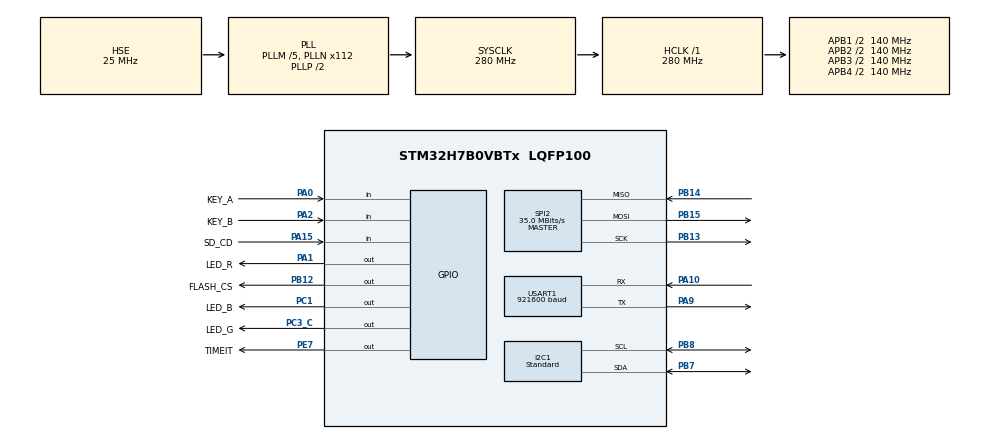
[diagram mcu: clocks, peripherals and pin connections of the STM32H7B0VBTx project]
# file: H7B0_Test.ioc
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CORTEX_M7.AccessPermission-Cortex_Memory_Protection_Unit_Region0_Settings=MPU_REGION_FULL_ACCESS
CORTEX_M7.AccessPermission-Cortex_Memory_Protection_Unit_Region1_Settings=MPU_REGION_FULL_ACCESS
CORTEX_M7.AccessPermission-Cortex_Memory_Protection_Unit_Region2_Settings=MPU_REGION_FULL_ACCESS
CORTEX_M7.AccessPermission_Spec=MPU_REGION_FULL_ACCESS
CORTEX_M7.BaseAddress-Cortex_Memory_Protection_Unit_Region0_Settings=0x90000000
CORTEX_M7.BaseAddress-Cortex_Memory_Protection_Unit_Region1_Settings=0x20000000
CORTEX_M7.BaseAddress-Cortex_Memory_Protection_Unit_Region2_Settings=0x24000000
CORTEX_M7.CPU_DCache=Enabled
CORTEX_M7.CPU_ICache=Enabled
CORTEX_M7.DisableExec-Cortex_Memory_Protection_Unit_Region0_Settings=MPU_INSTRUCTION_ACCESS_ENABLE
CORTEX_M7.DisableExec_Spec=MPU_INSTRUCTION_ACCESS_ENABLE
CORTEX_M7.Enable-Cortex_Memory_Protection_Unit_Region0_Settings=MPU_REGION_ENABLE
CORTEX_M7.Enable-Cortex_Memory_Protection_Unit_Region1_Settings=MPU_REGION_ENABLE
CORTEX_M7.Enable-Cortex_Memory_Protection_Unit_Region2_Settings=MPU_REGION_ENABLE
CORTEX_M7.Enable_Spec=__NULL
CORTEX_M7.IsBufferable-Cortex_Memory_Protection_Unit_Region0_Settings=MPU_ACCESS_BUFFERABLE
CORTEX_M7.IsBufferable-Cortex_Memory_Protection_Unit_Region1_Settings=MPU_ACCESS_BUFFERABLE
CORTEX_M7.IsBufferable-Cortex_Memory_Protection_Unit_Region2_Settings=MPU_ACCESS_BUFFERABLE
CORTEX_M7.IsBufferable_Spec=MPU_ACCESS_BUFFERABLE
CORTEX_M7.IsCacheable-Cortex_Memory_Protection_Unit_Region0_Settings=MPU_ACCESS_CACHEABLE
CORTEX_M7.IsCacheable-Cortex_Memory_Protection_Unit_Region1_Settings=MPU_ACCESS_CACHEABLE
CORTEX_M7.IsCacheable-Cortex_Memory_Protection_Unit_Region2_Settings=MPU_ACCESS_CACHEABLE
CORTEX_M7.IsCacheable_Spec=MPU_ACCESS_CACHEABLE
CORTEX_M7.IsShareable_Spec=MPU_ACCESS_NOT_SHAREABLE
CORTEX_M7.MPU_Control=MPU_PRIVILEGED_DEFAULT
CORTEX_M7.Size-Cortex_Memory_Protection_Unit_Region0_Settings=MPU_REGION_SIZE_32MB
CORTEX_M7.Size-Cortex_Memory_Protection_Unit_Region1_Settings=MPU_REGION_SIZE_2MB
CORTEX_M7.Size-Cortex_Memory_Protection_Unit_Region2_Settings=MPU_REGION_SIZE_2MB
CORTEX_M7.SubRegionDisable_Spec=0
CORTEX_M7.TypeExtField-Cortex_Memory_Protection_Unit_Region0_Settings=MPU_TEX_LEVEL1
CORTEX_M7.TypeExtField-Cortex_Memory_Protection_Unit_Region1_Settings=MPU_TEX_LEVEL1
CORTEX_M7.TypeExtField-Cortex_Memory_Protection_Unit_Region2_Settings=MPU_TEX_LEVEL1
CORTEX_M7.TypeExtField_Spec=MPU_TEX_LEVEL1
Dma.Request0=USART1_RX
Dma.Request1=USART1_TX
Dma.Request2=SPI2_TX
Dma.Request3=SPI2_RX
Dma.SPI2_RX.3.Direction=DMA_PERIPH_TO_MEMORY
Dma.SPI2_RX.3.EventEnable=DISABLE
Dma.SPI2_RX.3.FIFOMode=DMA_FIFOMODE_DISABLE
Dma.SPI2_RX.3.Instance=DMA1_Stream3
Dma.SPI2_RX.3.MemDataAlignment=DMA_MDATAALIGN_BYTE
Dma.SPI2_RX.3.MemInc=DMA_MINC_ENABLE
Dma.SPI2_RX.3.Mode=DMA_NORMAL
Dma.SPI2_RX.3.PeriphDataAlignment=DMA_PDATAALIGN_BYTE
Dma.SPI2_RX.3.PeriphInc=DMA_PINC_DISABLE
Dma.SPI2_RX.3.Polarity=HAL_DMAMUX_REQ_GEN_RISING
Dma.SPI2_RX.3.Priority=DMA_PRIORITY_LOW
Dma.SPI2_RX.3.RequestNumber=1
Dma.SPI2_RX.3.SignalID=NONE
Dma.SPI2_RX.3.SyncEnable=DISABLE
Dma.SPI2_RX.3.SyncPolarity=HAL_DMAMUX_SYNC_NO_EVENT
Dma.SPI2_RX.3.SyncRequestNumber=1
Dma.SPI2_RX.3.SyncSignalID=NONE
Dma.SPI2_TX.2.Direction=DMA_MEMORY_TO_PERIPH
Dma.SPI2_TX.2.EventEnable=DISABLE
Dma.SPI2_TX.2.FIFOMode=DMA_FIFOMODE_DISABLE
Dma.SPI2_TX.2.Instance=DMA1_Stream2
Dma.SPI2_TX.2.MemDataAlignment=DMA_MDATAALIGN_BYTE
Dma.SPI2_TX.2.MemInc=DMA_MINC_ENABLE
Dma.SPI2_TX.2.Mode=DMA_NORMAL
Dma.SPI2_TX.2.PeriphDataAlignment=DMA_PDATAALIGN_BYTE
Dma.SPI2_TX.2.PeriphInc=DMA_PINC_DISABLE
Dma.SPI2_TX.2.Polarity=HAL_DMAMUX_REQ_GEN_RISING
Dma.SPI2_TX.2.Priority=DMA_PRIORITY_LOW
Dma.SPI2_TX.2.RequestNumber=1
Dma.SPI2_TX.2.SignalID=NONE
Dma.SPI2_TX.2.SyncEnable=DISABLE
Dma.SPI2_TX.2.SyncPolarity=HAL_DMAMUX_SYNC_NO_EVENT
Dma.SPI2_TX.2.SyncRequestNumber=1
Dma.SPI2_TX.2.SyncSignalID=NONE
Dma.USART1_RX.0.Direction=DMA_PERIPH_TO_MEMORY
Dma.USART1_RX.0.EventEnable=DISABLE
Dma.USART1_RX.0.FIFOMode=DMA_FIFOMODE_DISABLE
Dma.USART1_RX.0.Instance=DMA1_Stream0
Dma.USART1_RX.0.MemDataAlignment=DMA_MDATAALIGN_BYTE
Dma.USART1_RX.0.MemInc=DMA_MINC_ENABLE
Dma.USART1_RX.0.Mode=DMA_NORMAL
Dma.USART1_RX.0.PeriphDataAlignment=DMA_PDATAALIGN_BYTE
Dma.USART1_RX.0.PeriphInc=DMA_PINC_DISABLE
Dma.USART1_RX.0.Polarity=HAL_DMAMUX_REQ_GEN_RISING
Dma.USART1_RX.0.Priority=DMA_PRIORITY_LOW
Dma.USART1_RX.0.RequestNumber=1
Dma.USART1_RX.0.SignalID=NONE
Dma.USART1_RX.0.SyncEnable=DISABLE
Dma.USART1_RX.0.SyncPolarity=HAL_DMAMUX_SYNC_NO_EVENT
Dma.USART1_RX.0.SyncRequestNumber=1
Dma.USART1_RX.0.SyncSignalID=NONE
Dma.USART1_TX.1.Direction=DMA_MEMORY_TO_PERIPH
Dma.USART1_TX.1.EventEnable=DISABLE
Dma.USART1_TX.1.FIFOMode=DMA_FIFOMODE_DISABLE
Dma.USART1_TX.1.Instance=DMA1_Stream1
Dma.USART1_TX.1.MemDataAlignment=DMA_MDATAALIGN_BYTE
Dma.USART1_TX.1.MemInc=DMA_MINC_ENABLE
Dma.USART1_TX.1.Mode=DMA_NORMAL
Dma.USART1_TX.1.PeriphDataAlignment=DMA_PDATAALIGN_BYTE
Dma.USART1_TX.1.PeriphInc=DMA_PINC_DISABLE
Dma.USART1_TX.1.Polarity=HAL_DMAMUX_REQ_GEN_RISING
Dma.USART1_TX.1.Priority=DMA_PRIORITY_LOW
Dma.USART1_TX.1.RequestNumber=1
Dma.USART1_TX.1.SignalID=NONE
Dma.USART1_TX.1.SyncEnable=DISABLE
Dma.USART1_TX.1.SyncPolarity=HAL_DMAMUX_SYNC_NO_EVENT
Dma.USART1_TX.1.SyncRequestNumber=1
Dma.USART1_TX.1.SyncSignalID=NONE
I2C1.I2C_Speed_Mode=I2C_Standard
I2C1.Timing=0x20B0CCFF
Mcu.Family=STM32H7
Mcu.Name=STM32H7B0VBTx
Mcu.Package=LQFP100
NVIC.DMA1_Stream0_IRQn=true\:3\:0\:true\:false\:true\:false\:true\:true
NVIC.DMA1_Stream1_IRQn=true\:3\:0\:true\:false\:true\:false\:true\:true
NVIC.DMA1_Stream2_IRQn=true\:0\:0\:false\:false\:true\:false\:true\:true
NVIC.DMA1_Stream3_IRQn=true\:0\:0\:false\:false\:true\:false\:true\:true
NVIC.I2C1_ER_IRQn=true\:4\:0\:true\:false\:true\:true\:true\:true
NVIC.I2C1_EV_IRQn=true\:4\:0\:true\:false\:true\:true\:true\:true
NVIC.PriorityGroup=NVIC_PRIORITYGROUP_4
NVIC.SPI2_IRQn=true\:0\:0\:false\:false\:true\:true\:true\:true
NVIC.USART1_IRQn=true\:2\:0\:true\:false\:true\:true\:true\:true
PA0.GPIO_Label=KEY_A
PA0.GPIO_PuPd=GPIO_PULLDOWN
PA0.Signal=GPIO_Input
PA1.GPIO_Label=LED_R
PA1.GPIO_ModeDefaultOutputPP=GPIO_MODE_OUTPUT_OD
PA1.GPIO_PuPd=GPIO_NOPULL
PA1.PinState=GPIO_PIN_SET
PA1.Signal=GPIO_Output
PA10.Mode=Asynchronous
PA10.Signal=USART1_RX
PA13.Mode=Serial_Wire
PA13.Signal=DEBUG_JTMS-SWDIO
PA14.Mode=Serial_Wire
PA14.Signal=DEBUG_JTCK-SWCLK
PA15.GPIO_Label=SD_CD
PA15.GPIO_PuPd=GPIO_PULLUP
PA15.Signal=GPIO_Input
PA2.GPIO_Label=KEY_B
PA2.GPIO_PuPd=GPIO_PULLUP
PA2.Signal=GPIO_Input
PA9.Mode=Asynchronous
PA9.Signal=USART1_TX
PB12.GPIO_Label=FLASH_CS
PB12.Signal=GPIO_Output
PB13.Mode=Full_Duplex_Master
PB13.Signal=SPI2_SCK
PB14.Mode=Full_Duplex_Master
PB14.Signal=SPI2_MISO
PB15.Mode=Full_Duplex_Master
PB15.Signal=SPI2_MOSI
PB2.Signal=OCTOSPIM_P1_CLK
PB6.Signal=OCTOSPIM_P1_NCS
PB7.GPIO_Pu=GPIO_PULLUP
PB7.GPIO_Speed=GPIO_SPEED_FREQ_HIGH
PB7.Mode=I2C
PB7.Signal=I2C1_SDA
PB8.GPIO_Pu=GPIO_PULLUP
PB8.GPIO_Speed=GPIO_SPEED_FREQ_HIGH
PB8.Mode=I2C
PB8.Signal=I2C1_SCL
PC1.GPIO_Label=LED_B
PC1.GPIO_ModeDefaultOutputPP=GPIO_MODE_OUTPUT_OD
PC1.GPIO_PuPd=GPIO_NOPULL
PC1.PinState=GPIO_PIN_SET
PC1.Signal=GPIO_Output
PC3_C.GPIO_Label=LED_G
PC3_C.GPIO_ModeDefaultOutputPP=GPIO_MODE_OUTPUT_OD
PC3_C.GPIO_PuPd=GPIO_NOPULL
PC3_C.PinState=GPIO_PIN_SET
PC3_C.Signal=GPIO_Output
PC8.Signal=SDMMC1_D0
PD11.Signal=OCTOSPIM_P1_IO0
PD12.Signal=OCTOSPIM_P1_IO1
PD13.Signal=OCTOSPIM_P1_IO3
PE7.GPIO_Label=TIMEIT
PE7.GPIO_Speed=GPIO_SPEED_FREQ_VERY_HIGH
PE7.Signal=GPIO_Output
PH0-OSC_IN.Mode=HSE-External-Oscillator
PH0-OSC_IN.Signal=RCC_OSC_IN
PH1-OSC_OUT.Mode=HSE-External-Oscillator
PH1-OSC_OUT.Signal=RCC_OSC_OUT
ProjectManager.HeapSize=0x1000
ProjectManager.StackSize=0x10000
ProjectManager.TargetToolchain=MDK-ARM V5.32
RCC.ADCFreq_Value=95000000
RCC.APB1Freq_Value=140000000
RCC.APB2Freq_Value=140000000
RCC.APB3Freq_Value=140000000
RCC.APB4Freq_Value=140000000
RCC.CDPPRE=RCC_APB3_DIV2
RCC.CDPPRE1=RCC_APB1_DIV2
RCC.CDPPRE2=RCC_APB2_DIV2
RCC.CortexFreq_Value=280000000
RCC.DIVM1=5
RCC.DIVM2=10
RCC.DIVM3=20
RCC.DIVN1=112
RCC.DIVN2=76
RCC.DIVN3=160
RCC.DIVQ2=4
RCC.DIVQ3=4
RCC.DIVR3=20
RCC.HCLKFreq_Value=280000000
RCC.HSE_VALUE=25000000
RCC.PLLSourceVirtual=RCC_PLLSOURCE_HSE
RCC.SRDPPRE=RCC_APB4_DIV2
RCC.SYSCLKFreq_VALUE=280000000
RCC.SYSCLKSource=RCC_SYSCLKSOURCE_PLLCLK
RCC.SupplySource=PWR_EXTERNAL_SOURCE_SUPPLY
RCC.USBFreq_Value=280000000
SPI2.BaudRatePrescaler=SPI_BAUDRATEPRESCALER_8
SPI2.CLKPhase=SPI_PHASE_1EDGE
SPI2.CLKPolarity=SPI_POLARITY_LOW
SPI2.CalculateBaudRate=35.0 MBits/s
SPI2.DataSize=SPI_DATASIZE_8BIT
SPI2.Direction=SPI_DIRECTION_2LINES
SPI2.FifoThreshold=SPI_FIFO_THRESHOLD_01DATA
SPI2.Mode=SPI_MODE_MASTER
SPI2.NSSPMode=SPI_NSS_PULSE_DISABLE
SPI2.VirtualType=VM_MASTER
USART1.BaudRate=921600
USART1.VirtualMode-Asynchronous=VM_ASYNC
board=custom

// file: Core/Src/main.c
/* USER CODE BEGIN Header */
/**
 ******************************************************************************
 * @file           : main.c
 * @brief          : Main program body
 ******************************************************************************
 * @attention
 *
 * Copyright (c) 2024 STMicroelectronics.
 * All rights reserved.
 *
 * This software is licensed under terms that can be found in the LICENSE file
 * in the root directory of this software component.
 * If no LICENSE file comes with this software, it is provided AS-IS.
 *
 ******************************************************************************
 */
/* USER CODE END Header */
#include "main.h"

#include "dma.h"
#include "gpio.h"
#include "i2c.h"
#include "spi.h"
#include "usart.h"

/* USER CODE BEGIN Includes */

#define LOG_LEVEL LOG_LEVEL_DEBUG
#define LOG_MODULE "main"
#include "log.h"

#define FLASH_HSPI_HANDLE hspi2
#include "spif_port_lfs.h"

//

#include "TimeLib.h"
#include "cm_backtrace.h"
#include "embedded_cli.h"
#include "key.h"
#include "klite.h"
#include "led.h"
#include "lfs.h"
#include "lfs_stdlib.h"
#include "lfs_utils.h"
#include "ll_i2c.h"
#include "lwprintf.h"
#include "mf.h"
#include "scheduler.h"
#include "sds.h"
#include "spif.h"
#include "sys_utils.h"
#include "xv_extend.h"

/* USER CODE END Includes */

void SystemClock_Config(void);
static void MPU_Initialize(void);
static void MPU_Config(void);

/* USER CODE BEGIN 0 */
key_read_e read_key(uint8_t idx) {
    switch (idx) {
        case 0:
            return (HAL_GPIO_ReadPin(KEY_A_GPIO_Port, KEY_A_Pin) ==
                    GPIO_PIN_SET);
        case 1:
            return (HAL_GPIO_ReadPin(KEY_B_GPIO_Port, KEY_B_Pin) ==
                    GPIO_PIN_RESET);
    }
    return KEY_READ_UP;
}

void key_callback(uint8_t idx, uint8_t event) {
    LOG_DEBUG("Key %d event %s - %d", idx, key_get_event_name(event),
              key_get_multi_event_num(event));
}

void task_alive(void* arg) {
    HAL_GPIO_TogglePin(LED_B_GPIO_Port, LED_B_Pin);
}

EmbeddedCli* cli = NULL;

void uart_callback(uint8_t* buf, size_t len) {
    static bool cli_enabled = false;
    if (cli == NULL)
        return;
    if (!cli_enabled) {
        cli_enabled = true;
        sch_task_set_enabled("cli", true);
    }
    embeddedCliReceiveBuffer(cli, (const char*)buf, len);
}

void cli_putchar(EmbeddedCli* cli, char c) {
    putchar(c);
}

void init_all(void) {
    init_module_timebase();
    LOG_CUSTOM("INIT", T_LMAGENTA, "System Initializing...");

    sch_task_create("alive", task_alive, 2, 1, 3, NULL);
    uart_fifo_tx_init(&huart1, NULL, 2048);
    uart_dma_rx_init(&huart1, NULL, 2048, uart_callback, 1);
    LOG_PASS("UART Initialized");

    sch_task_create("keytick", (sch_task_func_t)key_tick, 100, 1, 2,
                    key_init(NULL, read_key, 2, key_callback));
    LOG_PASS("Key Initialized");

    spif_init_lfs();
    LOG_PASS("File System Initialized");

    mf_init();
    LOG_INFO("MiniFlashDB Initialized");

    cli = embeddedCliNewDefault();
    cli->writeChar = cli_putchar;
    sch_add_command_to_cli(cli);
    system_utils_add_command_to_cli(cli);
    lfs_utils_add_command_to_cli(cli, &lfs);
    xv_ex_add_command_to_cli(cli);
    sch_task_create("cli", (sch_task_func_t)embeddedCliProcess, 100, 0, 1, cli);
    LOG_PASS("CLI Initialized");

    LOG_PASS("System Initialized");
}

void test_thread(void* arg) {
    typedef struct {
        uint32_t boot;
    } data_t;

    data_t data = {0};

    LOG_INFO("Test thread started");
    mf_sync_key("data", &data, sizeof(data_t));
    LOG_INFO("Boot count: %d", data.boot++);
    mf_set_key("data", &data, sizeof(data_t));
    mf_save();

    while (1) {
        kl_thread_sleep(10);
    }
}

void cr_test_main(__async__, void* args) {
    CR_INIT_LOCAL_BEGIN
    CR_INIT_LOCAL_END

    CR_DELAY(100);

    LOG_INFO("Coroutine main started");
    while (true) {
        CR_DELAY(100);
    }
    LOG_INFO("Coroutine main ended");
}

void main_thread(void* arg) {
    init_all();

    kl_thread_create(test_thread, 0, 10240, 0);
    sch_cortn_run("main", cr_test_main, NULL);

    scheduler_run(1);
}

/* USER CODE END 0 */

int main(void) {
    /* USER CODE BEGIN 1 */
    cm_backtrace_init("H7B0_Test", "1.0.0", "1.0.0");
    // SCB_EnableICache();
    // SCB_EnableDCache();
    SCB->CACR |= 1 << 2;  // Enable DCache Write-through

    /* USER CODE END 1 */

    /* Enable I-Cache---------------------------------------------------------*/
    SCB_EnableICache();

    /* Enable D-Cache---------------------------------------------------------*/
    // SCB_EnableDCache();

    /* MCU Configuration--------------------------------------------------------*/

    /* Reset of all peripherals, Initializes the Flash interface and the Systick.
   */
    HAL_Init();

    /* MPU Configuration--------------------------------------------------------*/
    MPU_Config();

    /* Configure the system clock */
    SystemClock_Config();

    /* Initialize all configured peripherals */
    MX_GPIO_Init();
    MX_DMA_Init();
    MX_USART1_UART_Init();
    MX_SPI2_Init();
    MX_I2C1_Init();
    /* USER CODE BEGIN 2 */

    static uint8_t __ALIGNED(32) heap[256UL * 1024UL] = {0};

    kl_kernel_init(heap, sizeof(heap));             /* 系统初始化 */
    kl_thread_create(main_thread, NULL, 102400, 5); /* 创建main线程 */
    kl_kernel_start();                              /* 启动系统 */

    /* USER CODE END 2 */

    while (1) {

    }
}

void SystemClock_Config(void) {
    RCC_OscInitTypeDef RCC_OscInitStruct = {0};
    RCC_ClkInitTypeDef RCC_ClkInitStruct = {0};

    /*AXI clock gating */
    RCC->CKGAENR = 0xFFFFFFFF;

    /** Supply configuration update enable
   */
    HAL_PWREx_ConfigSupply(PWR_EXTERNAL_SOURCE_SUPPLY);

    /** Configure the main internal regulator output voltage
   */
    __HAL_PWR_VOLTAGESCALING_CONFIG(PWR_REGULATOR_VOLTAGE_SCALE0);

    while (!__HAL_PWR_GET_FLAG(PWR_FLAG_VOSRDY)) {}

    /** Initializes the RCC Oscillators according to the specified parameters
   * in the RCC_OscInitTypeDef structure.
   */
    RCC_OscInitStruct.OscillatorType = RCC_OSCILLATORTYPE_HSE;
    RCC_OscInitStruct.HSEState = RCC_HSE_ON;
    RCC_OscInitStruct.PLL.PLLState = RCC_PLL_ON;
    RCC_OscInitStruct.PLL.PLLSource = RCC_PLLSOURCE_HSE;
    RCC_OscInitStruct.PLL.PLLM = 5;
    RCC_OscInitStruct.PLL.PLLN = 112;
    RCC_OscInitStruct.PLL.PLLP = 2;
    RCC_OscInitStruct.PLL.PLLQ = 2;
    RCC_OscInitStruct.PLL.PLLR = 2;
    RCC_OscInitStruct.PLL.PLLRGE = RCC_PLL1VCIRANGE_2;
    RCC_OscInitStruct.PLL.PLLVCOSEL = RCC_PLL1VCOWIDE;
    RCC_OscInitStruct.PLL.PLLFRACN = 0;
    if (HAL_RCC_OscConfig(&RCC_OscInitStruct) != HAL_OK) {
        Error_Handler();
    }

    /** Initializes the CPU, AHB and APB buses clocks
   */
    RCC_ClkInitStruct.ClockType = RCC_CLOCKTYPE_HCLK | RCC_CLOCKTYPE_SYSCLK |
                                  RCC_CLOCKTYPE_PCLK1 | RCC_CLOCKTYPE_PCLK2 |
                                  RCC_CLOCKTYPE_D3PCLK1 | RCC_CLOCKTYPE_D1PCLK1;
    RCC_ClkInitStruct.SYSCLKSource = RCC_SYSCLKSOURCE_PLLCLK;
    RCC_ClkInitStruct.SYSCLKDivider = RCC_SYSCLK_DIV1;
    RCC_ClkInitStruct.AHBCLKDivider = RCC_HCLK_DIV1;
    RCC_ClkInitStruct.APB3CLKDivider = RCC_APB3_DIV2;
    RCC_ClkInitStruct.APB1CLKDivider = RCC_APB1_DIV2;
    RCC_ClkInitStruct.APB2CLKDivider = RCC_APB2_DIV2;
    RCC_ClkInitStruct.APB4CLKDivider = RCC_APB4_DIV2;

    if (HAL_RCC_ClockConfig(&RCC_ClkInitStruct, FLASH_LATENCY_6) != HAL_OK) {
        Error_Handler();
    }
}

/* MPU Configuration */

void MPU_Config(void) {
    MPU_Region_InitTypeDef MPU_InitStruct = {0};

    /* Disables the MPU */
    HAL_MPU_Disable();

    /** Initializes and configures the Region and the memory to be protected
   */
    MPU_InitStruct.Enable = MPU_REGION_ENABLE;
    MPU_InitStruct.Number = MPU_REGION_NUMBER0;
    MPU_InitStruct.BaseAddress = 0x90000000;
    MPU_InitStruct.Size = MPU_REGION_SIZE_32MB;
    MPU_InitStruct.SubRegionDisable = 0x0;
    MPU_InitStruct.TypeExtField = MPU_TEX_LEVEL1;
    MPU_InitStruct.AccessPermission = MPU_REGION_FULL_ACCESS;
    MPU_InitStruct.DisableExec = MPU_INSTRUCTION_ACCESS_ENABLE;
    MPU_InitStruct.IsShareable = MPU_ACCESS_NOT_SHAREABLE;
    MPU_InitStruct.IsCacheable = MPU_ACCESS_CACHEABLE;
    MPU_InitStruct.IsBufferable = MPU_ACCESS_BUFFERABLE;

    HAL_MPU_ConfigRegion(&MPU_InitStruct);

    /** Initializes and configures the Region and the memory to be protected
   */
    MPU_InitStruct.Number = MPU_REGION_NUMBER1;
    MPU_InitStruct.BaseAddress = 0x20000000;
    MPU_InitStruct.Size = MPU_REGION_SIZE_2MB;

    HAL_MPU_ConfigRegion(&MPU_InitStruct);

    /** Initializes and configures the Region and the memory to be protected
   */
    MPU_InitStruct.Number = MPU_REGION_NUMBER2;
    MPU_InitStruct.BaseAddress = 0x24000000;

    HAL_MPU_ConfigRegion(&MPU_InitStruct);
    /* Enables the MPU */
    HAL_MPU_Enable(MPU_PRIVILEGED_DEFAULT);
}

void Error_Handler(void) {
    __disable_irq();
    while (1) {}
}

#ifdef USE_FULL_ASSERT
/**
 * @brief  Reports the name of the source file and the source line number
 *         where the assert_param error has occurred.
 * @param  file: pointer to the source file name
 * @param  line: assert_param error line source number
 * @retval None
 */
void assert_failed(uint8_t* file, uint32_t line) {
    /* USER CODE BEGIN 6 */
    /* User can add his own implementation to report the file name and line
     number, ex: printf("Wrong parameters value: file %s on line %d\r\n", file,
     line) */
    /* USER CODE END 6 */
}
#endif /* USE_FULL_ASSERT */
